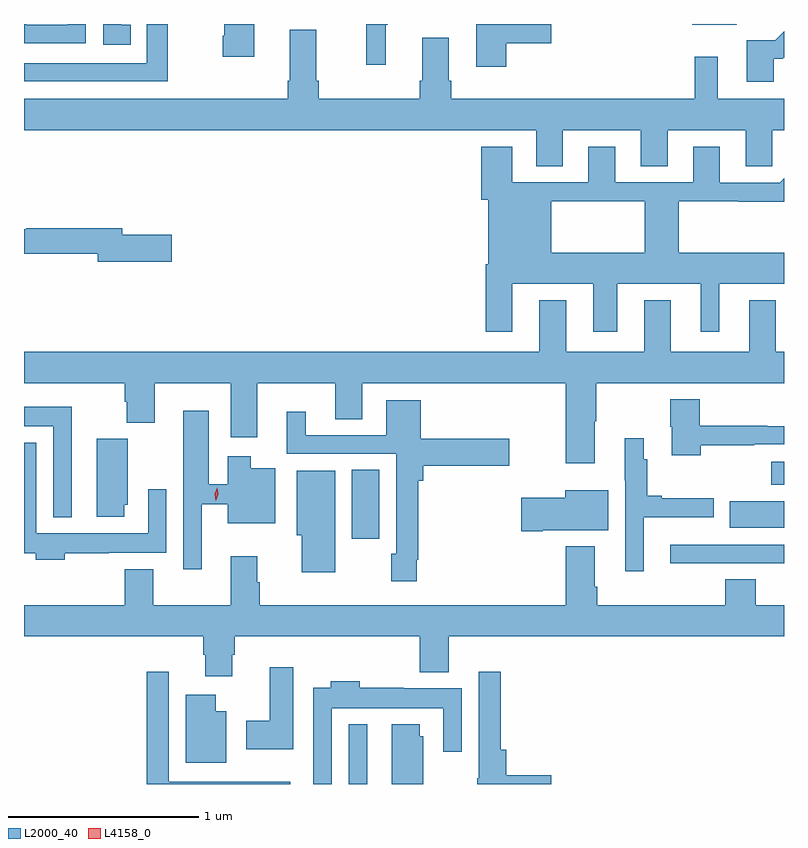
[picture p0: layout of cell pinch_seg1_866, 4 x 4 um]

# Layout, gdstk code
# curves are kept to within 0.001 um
import gdstk
lib = gdstk.Library(unit=1e-6, precision=1e-09)
def R(c, l, rs):  # rectangles x0, y0, x1, y1
    for r in rs: c.add(gdstk.rectangle(r[:2], r[2:], *l))
def P(c, l, *ps):  # polygons
    for p in ps: c.add(gdstk.Polygon(p, *l))
L2000_40 = (2000, 40)
L4158_0 = (4158, 0)

pinch_seg1_866 = lib.new_cell('pinch_seg1_866')
R(pinch_seg1_866, L2000_40, [(526.749,533.638,526.846,533.953), (526.766,534.93,526.909,535.292), (528.754,534.986,529.04,535.126), (528.972,535.214,529.04,535.335), (528.558,537.635,528.79,537.638)])
P(pinch_seg1_866, L2000_40, [(525.366,537.638),(525.27,537.638),(525.27,537.634),(525.056,537.634),(525.052,537.638),(525.04,537.638),(525.04,537.537),(525.366,537.537)],
  [(525.602,537.633),(525.553,537.633),(525.553,537.638),(525.456,537.638),(525.456,537.528),(525.602,537.528)],
  [(527.579,537.538),(527.815,537.538),(527.815,537.638),(527.42,537.638),(527.42,537.414),(527.579,537.414)],
  [(526.252,537.638),(526.094,537.638),(526.094,537.577),(526.087,537.577),(526.087,537.465),(526.252,537.465)],
  [(526.943,537.635),(526.954,537.635),(526.954,537.638),(526.84,537.638),(526.84,537.423),(526.943,537.423)],
  [(525.796,537.638),(525.687,537.638),(525.687,537.432),(525.04,537.432),(525.04,537.336),(525.796,537.336)],
  [(527.875,537.08),(528.287,537.08),(528.287,536.89),(528.427,536.89),(528.427,537.08),(528.839,537.08),(528.839,536.89),(528.978,536.89),(528.978,537.08),(529.04,537.08),(529.04,537.244),(528.691,537.244),(528.691,537.466),(528.57,537.466),(528.57,537.244),(527.288,537.244),(527.288,537.34),(527.275,537.34),(527.275,537.565),(527.135,537.565),(527.135,537.34),(527.123,537.34),(527.123,537.244),(526.592,537.244),(526.592,537.34),(526.579,537.34),(526.579,537.607),(526.439,537.607),(526.439,537.34),(526.427,537.34),(526.427,537.244),(525.04,537.244),(525.04,537.08),(527.735,537.08),(527.735,536.89),(527.875,536.89)],
  [(528.985,537.455),(529.034,537.455),(529.04,537.461),(529.04,537.599),(528.994,537.553),(528.845,537.553),(528.845,537.333),(528.985,537.333)],
  [(527.471,536.374),(527.471,536.019),(527.611,536.019),(527.611,536.27),(528.035,536.27),(528.035,536.019),(528.163,536.019),(528.163,536.27),(528.602,536.27),(528.602,536.019),(528.7,536.019),(528.7,536.27),(529.04,536.27),(529.04,536.434),(528.485,536.434),(528.485,536.704),(528.799,536.704),(528.799,536.702),(529.04,536.702),(529.04,536.825),(529.017,536.802),(528.703,536.802),(528.703,536.992),(528.563,536.992),(528.563,536.805),(528.151,536.805),(528.151,536.992),(528.011,536.992),(528.011,536.805),(527.611,536.805),(527.611,536.992),(527.447,536.992),(527.447,536.712),(527.483,536.712),(527.483,536.434),(527.815,536.434),(527.815,536.704),(528.307,536.704),(528.307,536.434),(527.483,536.434),(527.483,536.374)],
  [(525.817,536.528),(525.556,536.528),(525.556,536.564),(525.052,536.564),(525.052,536.557),(525.04,536.557),(525.04,536.428),(525.428,536.428),(525.428,536.386),(525.817,536.386)],
  [(528.043,535.546),(528.051,535.546),(528.051,535.748),(529.04,535.748),(529.04,535.912),(528.997,535.912),(528.997,536.185),(528.857,536.185),(528.857,535.912),(528.445,535.912),(528.445,536.185),(528.305,536.185),(528.305,535.912),(527.893,535.912),(527.893,536.185),(527.753,536.185),(527.753,535.912),(525.04,535.912),(525.04,535.748),(525.569,535.748),(525.569,535.649),(525.581,535.649),(525.581,535.54),(525.729,535.54),(525.729,535.748),(526.127,535.748),(526.127,535.464),(526.267,535.464),(526.267,535.748),(526.679,535.748),(526.679,535.558),(526.819,535.558),(526.819,535.748),(527.891,535.748),(527.891,535.326),(528.043,535.326)],
  [(528.602,535.42),(528.884,535.42),(528.884,535.425),(529.04,535.425),(529.04,535.521),(528.953,535.521),(528.953,535.524),(528.597,535.524),(528.597,535.663),(528.442,535.663),(528.442,535.518),(528.449,535.518),(528.449,535.368),(528.602,535.368)],
  [(527.107,534.817),(527.114,534.817),(527.114,535.235),(527.141,535.235),(527.141,535.313),(527.593,535.313),(527.593,535.455),(527.128,535.455),(527.128,535.657),(526.946,535.657),(526.946,535.473),(526.522,535.473),(526.522,535.597),(526.424,535.597),(526.424,535.377),(526.998,535.377),(526.998,534.849),(526.972,534.849),(526.972,534.705),(527.107,534.705)],
  [(525.292,535.624),(525.04,535.624),(525.04,535.52),(525.195,535.52),(525.195,535.043),(525.292,535.043)],
  [(525.976,535.111),(526.112,535.111),(526.112,535.01),(526.363,535.01),(526.363,535.3),(526.234,535.3),(526.234,535.363),(526.112,535.363),(526.112,535.215),(526.012,535.215),(526.012,535.603),(525.878,535.603),(525.878,535.219),(525.879,535.219),(525.879,534.768),(525.976,534.768)],
  [(528.301,535.043),(528.669,535.043),(528.669,535.143),(528.397,535.143),(528.397,535.156),(528.32,535.156),(528.32,535.346),(528.301,535.346),(528.301,535.459),(528.203,535.459),(528.203,535.237),(528.204,535.237),(528.204,534.759),(528.301,534.759)],
  [(525.568,535.107),(525.586,535.107),(525.586,535.455),(525.422,535.455),(525.422,535.044),(525.568,535.044)],
  [(525.254,534.852),(525.485,534.852),(525.485,534.854),(525.789,534.854),(525.789,535.189),(525.693,535.189),(525.693,534.958),(525.105,534.958),(525.105,535.435),(525.04,535.435),(525.04,534.852),(525.101,534.852),(525.101,534.818),(525.254,534.818)],
  [(526.678,535.288),(526.475,535.288),(526.475,534.948),(526.502,534.948),(526.502,534.752),(526.678,534.752)],
  [(527.77,534.974),(528.115,534.974),(528.115,535.183),(527.888,535.183),(527.888,535.145),(527.658,535.145),(527.658,534.967),(527.77,534.967)],
  [(529.04,534.897),(528.66,534.897),(528.66,534.898),(528.441,534.898),(528.441,534.801),(529.04,534.801)],
  [(526.135,534.318),(526.148,534.318),(526.148,534.416),(527.123,534.416),(527.123,534.227),(527.275,534.227),(527.275,534.416),(529.04,534.416),(529.04,534.58),(528.891,534.58),(528.891,534.716),(528.731,534.716),(528.731,534.58),(528.056,534.58),(528.056,534.676),(528.043,534.676),(528.043,534.889),(527.891,534.889),(527.891,534.58),(526.28,534.58),(526.28,534.701),(526.267,534.701),(526.267,534.838),(526.127,534.838),(526.127,534.58),(525.721,534.58),(525.721,534.769),(525.569,534.769),(525.569,534.58),(525.04,534.58),(525.04,534.416),(525.983,534.416),(525.983,534.318),(525.995,534.318),(525.995,534.204),(526.135,534.204)],
  [(526.456,534.253),(526.334,534.253),(526.334,533.97),(526.209,533.97),(526.209,533.822),(526.456,533.822)],
  [(527.815,533.684),(527.579,533.684),(527.579,533.818),(527.549,533.818),(527.549,534.229),(527.433,534.229),(527.433,533.667),(527.426,533.667),(527.426,533.638),(527.815,533.638)],
  [(526.44,533.65),(525.801,533.65),(525.801,534.229),(525.685,534.229),(525.685,533.638),(526.44,533.638)],
  [(526.659,534.038),(527.247,534.038),(527.247,533.808),(527.343,533.808),(527.343,534.142),(527.039,534.142),(527.039,534.145),(526.808,534.145),(526.808,534.178),(526.655,534.178),(526.655,534.145),(526.563,534.145),(526.563,533.638),(526.659,533.638)],
  [(526.105,534.022),(526.048,534.022),(526.048,534.109),(525.89,534.109),(525.89,533.75),(526.105,533.75)],
  [(527.14,533.889),(527.122,533.889),(527.122,533.953),(526.976,533.953),(526.976,533.638),(527.14,533.638)])
P(pinch_seg1_866, L4158_0, [(526.049,535.13),(526.049,535.13),(526.043,535.165),(526.057,535.198),(526.057,535.198),(526.057,535.198),(526.063,535.163),(526.049,535.13)])

lib.write_gds('pinch_seg1_866.gds')
